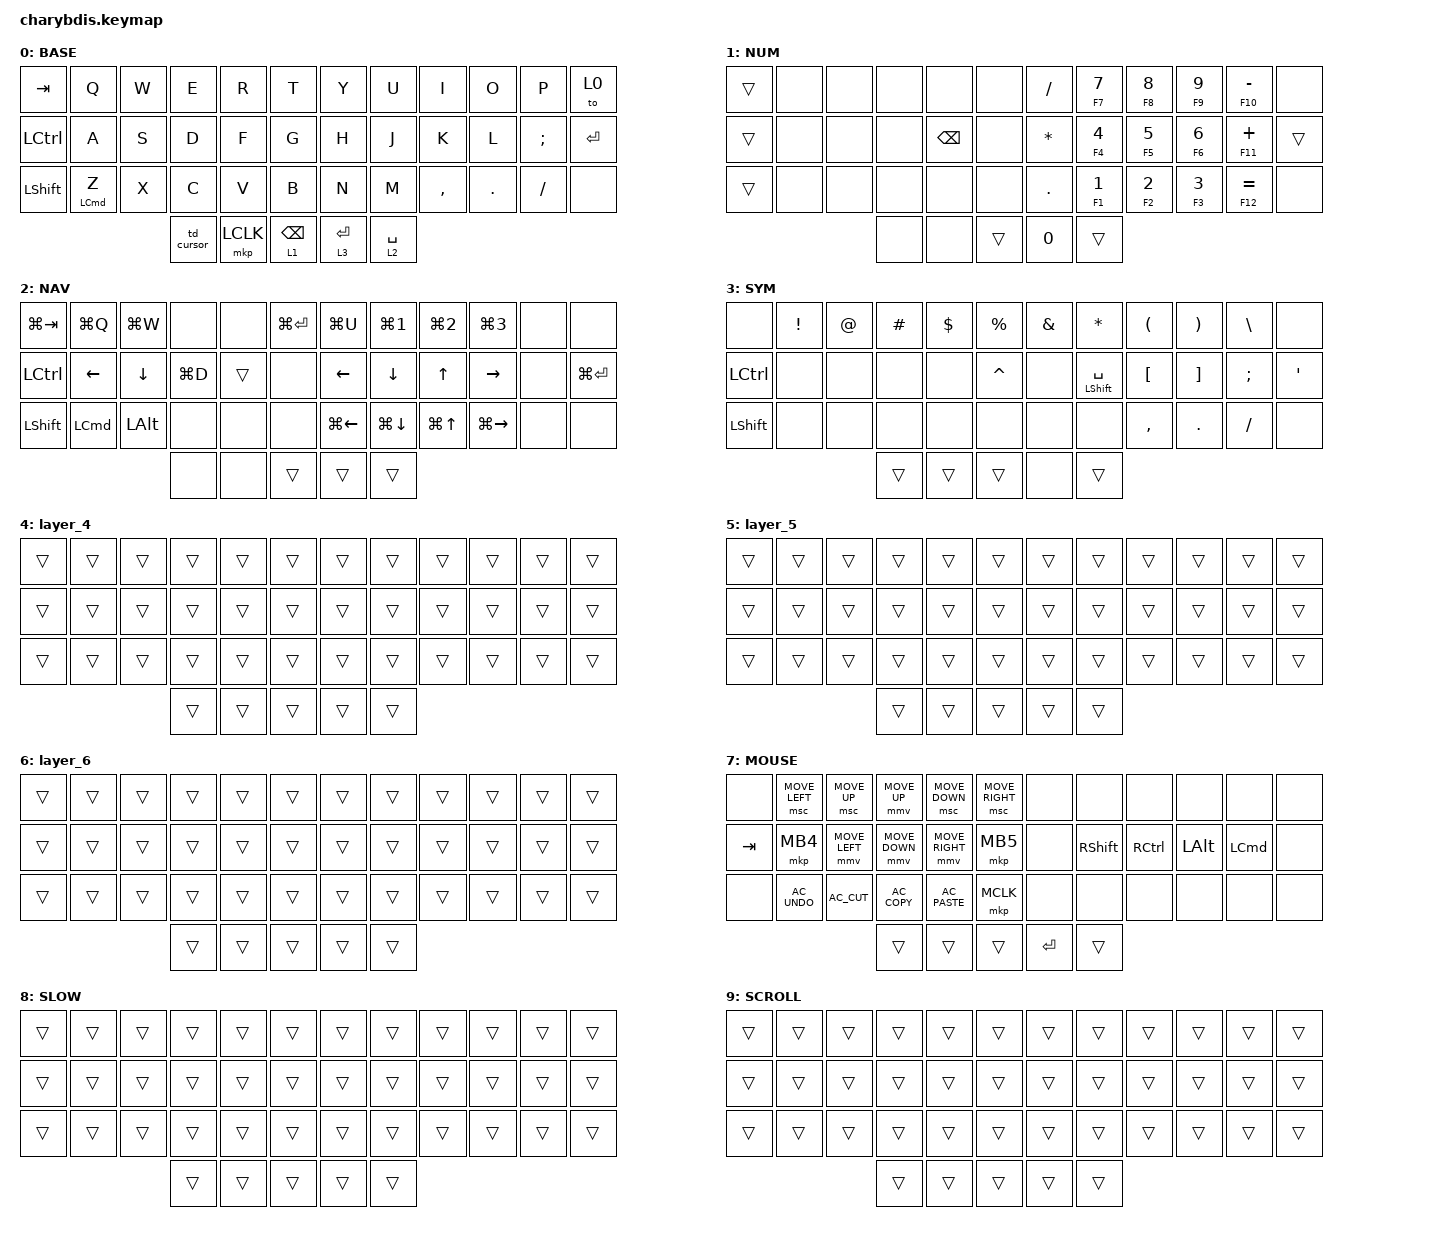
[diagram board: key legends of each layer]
#include <behaviors.dtsi>
#include <dt-bindings/zmk/bt.h>
#include <dt-bindings/zmk/keys.h>
#include <dt-bindings/zmk/mouse.h>
#include <dt-bindings/zmk/outputs.h>
#include <behaviors/mouse_keys.dtsi>
#include <dt-bindings/zmk/ext_power.h>
#include "macros.dtsi"

// / {
//     chosen { zmk,matrix_transform = &default_transform; };
// };

/ {
    /* input config for mouse move mode */

    trackball_listener {
        compatible = "zmk,input-behavior-listener";
        device = <&vtrackball>;
        layers = <0 2 7>;
        evt-type = <INPUT_EV_REL>;
        x-input-code = <INPUT_REL_X>;
        y-input-code = <INPUT_REL_Y>;
        scale-multiplier = <1>;
        scale-divisor = <2>;

        // bindings = <&ib_toggle_layer 7>;
    };

    /* input config for snipe mode */

    trackball_snipe_listener {
        compatible = "zmk,input-behavior-listener";
        device = <&vtrackball>;
        layers = <8>;
        evt-type = <INPUT_EV_REL>;
        x-input-code = <INPUT_REL_X>;
        y-input-code = <INPUT_REL_Y>;
        scale-multiplier = <1>;
        scale-divisor = <4>;
    };

    /* input config for mouse scroll mode */

    trackball_scroll_listener {
        compatible = "zmk,input-behavior-listener";
        device = <&vtrackball>;
        layers = <9>;
        evt-type = <INPUT_EV_REL>;
        x-input-code = <INPUT_REL_MISC>;
        y-input-code = <INPUT_REL_WHEEL>;
        y-invert;
        bindings = <&ib_wheel_scaler 1 14>;
    };

    /* define a resolution down scaler only for INPUT_REL_WHEEL */

    ib_wheel_scaler: ib_wheel_scaler {
        compatible = "zmk,input-behavior-scaler";
        #binding-cells = <2>;
        evt-type = <INPUT_EV_REL>;
        input-code = <INPUT_REL_WHEEL>;
    };

    /* adjust cooldown waiting period for mouse key layer after activated */

    ib_toggle_layer: ib_toggle_layer {
        compatible = "zmk,input-behavior-tog-layer";
        #binding-cells = <1>;
        time-to-live-ms = <750>;
    };

    behaviors {
        hm: homerow_mod {
            compatible = "zmk,behavior-hold-tap";
            #binding-cells = <2>;
            flavor = "tap-preferred";
            tapping-term-ms = <175>; // triggers the hold behavior when the tapping-term-ms has expired
            quick-tap-ms = <150>; // If you press a tapped hold-tap again within quick-tap-ms milliseconds of the first press, it will always trigger the tap behavior.
            require-prior-idle-ms = <185>; // like quick-tap-ms however it will apply for any non-modifier key pressed before it
            bindings = <&kp>, <&kp>;

            // hold, tap
        };

        td_cursor: td_scroll_or_cursor {
            compatible = "zmk,behavior-tap-dance";
            #binding-cells = <0>;
            bindings = <&lt 9 ESC>, <&to 8>;

            // hold, tap, double_tap
        };

        httl: ht_two_layers {
            compatible = "zmk,behavior-hold-tap";
            bindings = <&mo>, <&to>;

            #binding-cells = <2>;
            flavor = "balanced";
            tapping-term-ms = <125>;
        };

        td_layers: td_layer_swap {
            compatible = "zmk,behavior-tap-dance";
            #binding-cells = <0>;
            bindings = <&to 0>, <&to 0>, <&to 0>;

            // tap, double_tap, tripple_tap
        };

        td_clk_scrl: td_click_or_scroll {
            compatible = "zmk,behavior-tap-dance";
            #binding-cells = <0>;
            tapping-term-ms = <250>;
            bindings = <&mkp RCLK>, <&mo 9>;

            // tap/hold, double_tap
        };

        td_bore: BASE_or_EXTRA {
            compatible = "zmk,behavior-tap-dance";
            #binding-cells = <0>;
            bindings = <&mo 0>, <&to 0>;
        };
    };

    combos {
        compatible = "zmk,combos";

        CapsWord {
            bindings = <&caps_word>;
            key-positions = <17 18>;
            layers = <0>;
        };

        MiddleClick {
            bindings = <&mkp MCLK>;
            key-positions = <28 37>;
        };

        RightClick {
            bindings = <&mkp RCLK>;
            key-positions = <16 37>;
        };

        BASE_or_EXTRAS {
            bindings = <&td_bore>;
            key-positions = <38 39>;
        };

        // GameLayer {
        //     bindings = <&tog 4>;
        //     key-positions = <8 9>;
        // };
        // PhotoLayer {
        //     bindings = <&tog 5>;
        //     key-positions = <2 3>;
        // };
    };

    // ╭──────┬──────┬──────┬──────┬──────┬──────╮  ╭──────┬──────┬──────┬──────┬──────┬──────╮
    //    00     01     02     03    04      05        06     07     08     09     10     11
    // ├──────┼──────┼──────┼──────┼──────┼──────┤  ├──────┼──────┼──────┼──────┼──────┼──────┤
    //    12     13     14     15    16      17        18     19     20     21     22     23
    // ├──────┼──────┼──────┼──────┼──────┼──────┤  ├──────┼──────┼──────┼──────┼──────┼──────┤
    //    24     25     26     27    28      29        30     31     32     33     34     35
    // ╰──────┴──────┴──────┼──────┼──────┼──────┤  ├──────┼──────┼──────┴──────┴──────┴──────╯
    //                         36     37     38        39     40
    //                      ╰──────┴──────┴──────╯  ╰──────┴──────╯
    // #define BASE    0
    // #define NUM     1
    // #define NAV     2
    // #define SYM     3
    // #define GAME    4
    // #define PHOTOS  5
    // #define EXTRAS  6
    // #define MOUSE   7
    // #define SLOW    8
    // #define SCROLL  9

    keymap {
        compatible = "zmk,keymap";

        BASE {
            bindings = <
&kp TAB           &kp Q               &kp W  &kp E       &kp R      &kp T              &kp Y         &kp U        &kp I      &kp O       &kp P          &to 0
&kp LEFT_CONTROL  &kp A               &kp S  &kp D       &kp F      &kp G              &kp H         &kp J        &kp K      &kp L       &kp SEMICOLON  &kp ENTER
&kp LEFT_SHIFT    &hm LEFT_COMMAND Z  &kp X  &kp C       &kp V      &kp B              &kp N         &kp M        &kp COMMA  &kp PERIOD  &kp FSLH       &none
                                             &td_cursor  &mkp LCLK  &lt 1 BACKSPACE    &lt 3 RETURN  &lt 2 SPACE
            >;
        };

        NUM {
            bindings = <
&trans  &none  &none  &none  &none          &none     &kp SLASH  &hm F7 N7  &hm F8 N8  &hm F9 N9  &hm F10 MINUS  &none
&trans  &none  &none  &none  &kp BACKSPACE  &none     &kp ASTRK  &hm F4 N4  &hm F5 N5  &hm F6 N6  &hm F11 PLUS   &trans
&trans  &none  &none  &none  &none          &none     &kp DOT    &hm F1 N1  &hm F2 N2  &hm F3 N3  &hm F12 EQUAL  &none
                      &none  &none          &trans    &kp N0     &trans
            >;
        };

        NAV {
            bindings = <
&kp LG(TAB)       &kp LG(Q)         &kp LG(W)     &none      &none   &kp LG(RETURN)    &kp LG(U)     &kp LG(NUMBER_1)  &kp LG(NUMBER_2)  &kp LG(NUMBER_3)  &none  &none
&kp LEFT_CONTROL  &kp LEFT          &kp DOWN      &kp LG(D)  &trans  &none             &kp LEFT      &kp DOWN          &kp UP            &kp RIGHT         &none  &kp LG(RET)
&kp LSHIFT        &kp LEFT_COMMAND  &kp LEFT_ALT  &none      &none   &none             &kp LG(LEFT)  &kp LG(DOWN)      &kp LG(UP)        &kp LG(RIGHT)     &none  &none
                                                  &none      &none   &trans            &trans        &trans
            >;
        };

        SYM {
            bindings = <
&none             &kp EXCL  &kp AT  &kp HASH  &kp DLLR  &kp PRCNT    &kp AMPS  &kp ASTRK             &kp LPAR   &kp RPAR  &kp BSLH   &none
&kp LEFT_CONTROL  &none     &none   &none     &none     &kp CARET    &none     &hm LEFT_SHIFT SPACE  &kp LBKT   &kp RBKT  &kp SEMI   &kp SQT
&kp LSHIFT        &none     &none   &none     &none     &none        &none     &none                 &kp COMMA  &kp DOT   &kp SLASH  &none
                                    &trans    &trans    &trans       &none     &trans
            >;
        };

        layer_4 {
            bindings = <
&trans  &trans  &trans  &trans  &trans  &trans    &trans  &trans  &trans  &trans  &trans  &trans
&trans  &trans  &trans  &trans  &trans  &trans    &trans  &trans  &trans  &trans  &trans  &trans
&trans  &trans  &trans  &trans  &trans  &trans    &trans  &trans  &trans  &trans  &trans  &trans
                        &trans  &trans  &trans    &trans  &trans
            >;
        };

        layer_5 {
            bindings = <
&trans  &trans  &trans  &trans  &trans  &trans    &trans  &trans  &trans  &trans  &trans  &trans
&trans  &trans  &trans  &trans  &trans  &trans    &trans  &trans  &trans  &trans  &trans  &trans
&trans  &trans  &trans  &trans  &trans  &trans    &trans  &trans  &trans  &trans  &trans  &trans
                        &trans  &trans  &trans    &trans  &trans
            >;
        };

        layer_6 {
            bindings = <
&trans  &trans  &trans  &trans  &trans  &trans    &trans  &trans  &trans  &trans  &trans  &trans
&trans  &trans  &trans  &trans  &trans  &trans    &trans  &trans  &trans  &trans  &trans  &trans
&trans  &trans  &trans  &trans  &trans  &trans    &trans  &trans  &trans  &trans  &trans  &trans
                        &trans  &trans  &trans    &trans  &trans
            >;
        };

        MOUSE {
            bindings = <
&none    &msc MOVE_LEFT  &msc MOVE_UP    &mmv MOVE_UP    &msc MOVE_DOWN   &msc MOVE_RIGHT    &none       &none            &none      &none         &none     &none
&kp TAB  &mkp MB4        &mmv MOVE_LEFT  &mmv MOVE_DOWN  &mmv MOVE_RIGHT  &mkp MB5           &none       &kp RIGHT_SHIFT  &kp RCTRL  &kp LEFT_ALT  &kp LCMD  &none
&none    &kp C_AC_UNDO   &kp C_AC_CUT    &kp C_AC_COPY   &kp C_AC_PASTE   &mkp MCLK          &none       &none            &none      &none         &none     &none
                                         &trans          &trans           &trans             &kp RETURN  &trans
            >;
        };

        SLOW {
            bindings = <
&trans  &trans  &trans  &trans  &trans  &trans    &trans  &trans  &trans  &trans  &trans  &trans
&trans  &trans  &trans  &trans  &trans  &trans    &trans  &trans  &trans  &trans  &trans  &trans
&trans  &trans  &trans  &trans  &trans  &trans    &trans  &trans  &trans  &trans  &trans  &trans
                        &trans  &trans  &trans    &trans  &trans
            >;
        };

        SCROLL {
            bindings = <
&trans  &trans  &trans  &trans  &trans  &trans    &trans  &trans  &trans  &trans  &trans  &trans
&trans  &trans  &trans  &trans  &trans  &trans    &trans  &trans  &trans  &trans  &trans  &trans
&trans  &trans  &trans  &trans  &trans  &trans    &trans  &trans  &trans  &trans  &trans  &trans
                        &trans  &trans  &trans    &trans  &trans
            >;
        };
    };
};
